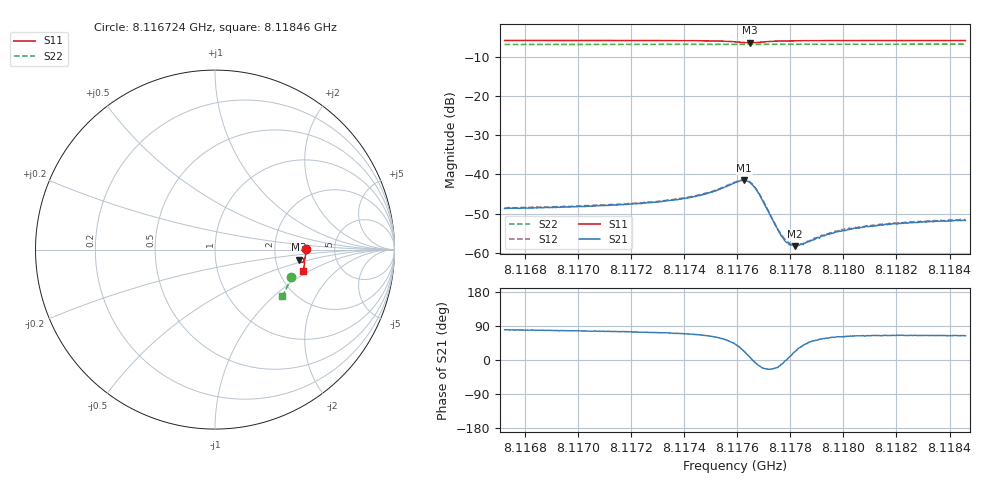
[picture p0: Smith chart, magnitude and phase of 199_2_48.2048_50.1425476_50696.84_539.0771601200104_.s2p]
#  HZ  S  RI  R  50.00
! Rohde & Schwarz Vector Network Analyzer
! Rohde-Schwarz,ZNB20-2Port,1311601062101988,3.16
! Created: UTC 3/20/2024, 11:44:57 AM
! freq[Hz]  re:S11  im:S11  re:S21  im:S21  re:S12  im:S12  re:S22  im:S22
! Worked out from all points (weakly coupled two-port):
!   401 points, 8.116724 GHz to 8.11846 GHz, reference 50 ohm
!   highest |S21| = -41.53 dB at 8.117627 GHz (marker M1); lowest = -58.3 dB at 8.117818 GHz (marker M2)
!   lowest |S11| = -6.5 dB at 8.117648 GHz (marker M3), VSWR 2.79, Z = 136 - j19.9 ohm
!   |S11| at or under -10 dB: nowhere
!   |S22| runs from -6.9 to -6.8 dB; largest |S21 - S12| = 0.00022
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8.1167245e9  0.5066 0.00416  0.000654 0.00363  0.000718 0.00365  0.4242 -0.1509
8.1170151e9  0.5058 -0.0185  0.000899 0.00379  0.000974 0.00384  0.4178 -0.1702
8.1173058e9  0.5031 -0.0424  0.00137 0.00426  0.00145 0.00433  0.4105 -0.1892
8.1173795e9  0.5018 -0.0491  0.00162 0.00453  0.00173 0.00459  0.4084 -0.1939
8.1174663e9  0.4989 -0.0582  0.00226 0.00501  0.00239 0.00507  0.406 -0.1995
8.1175096e9  0.496 -0.0633  0.00287 0.00531  0.00295 0.00541  0.4046 -0.2026
8.1175921e9  0.4819 -0.0712  0.00582 0.00526  0.006 0.00529  0.4016 -0.2076
8.1176268e9  0.4714 -0.0659  0.00774 0.00324  0.00786 0.0032  0.4002 -0.2093
8.1176485e9  0.4693 -0.0568  0.00781 0.000917  0.00797 0.000886  0.3995 -0.2102
8.1176658e9  0.4726 -0.0501  0.00681 -0.000653  0.00692 -0.000767  0.3991 -0.2109
8.1176832e9  0.4785 -0.0467  0.00541 -0.0015  0.00547 -0.00159  0.399 -0.2119
8.1177439e9  0.4934 -0.0519  0.0021 -0.000813  0.00217 -0.000863  0.398 -0.2158
8.1177743e9  0.4962 -0.0565  0.00153 -0.00021  0.00154 -0.000251  0.3972 -0.2179
8.1177916e9  0.4972 -0.0591  0.00134 0.000102  0.00137 6.25e-05  0.3965 -0.2192
8.1178176e9  0.498 -0.0624  0.00113 0.000453  0.00114 0.000477  0.3958 -0.2208
8.1178393e9  0.4984 -0.0651  0.00108 0.000728  0.00107 0.000738  0.3951 -0.2222
8.1178827e9  0.4987 -0.07  0.000936 0.0011  0.000982 0.00113  0.3937 -0.225
8.1179217e9  0.4987 -0.074  0.000915 0.00137  0.00091 0.00139  0.3925 -0.2275
8.1179781e9  0.4983 -0.0794  0.000914 0.00167  0.000932 0.00161  0.3906 -0.231
8.1180692e9  0.4973 -0.0874  0.000934 0.00189  0.000949 0.00197  0.3876 -0.2367
8.1181733e9  0.4959 -0.0959  0.000991 0.0021  0.00107 0.00214  0.3839 -0.2431
8.1184597e9  0.491 -0.1178  0.00113 0.00233  0.00118 0.0024  0.3735 -0.2604
